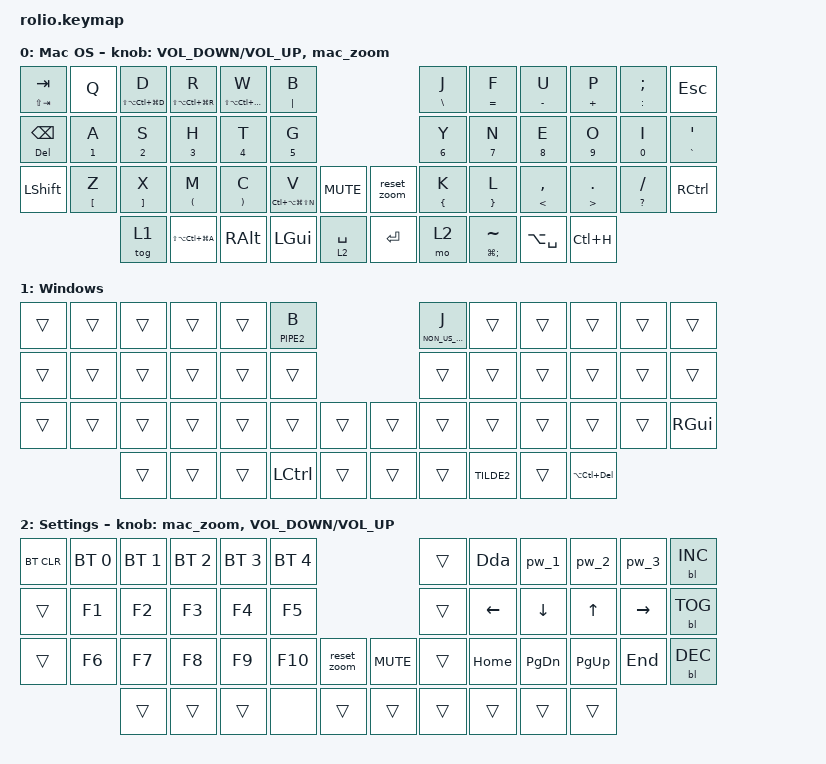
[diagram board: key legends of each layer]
/*
 * Copyright (c) 2020 The ZMK Contributors
 *
 * SPDX-License-Identifier: MIT
 */

#include <behaviors.dtsi>
#include <dt-bindings/zmk/backlight.h>
#include <dt-bindings/zmk/bt.h>
#include <dt-bindings/zmk/keys.h>

/ {
    conditional_layers {
        compatible = "zmk,conditional-layers";
    };

    behaviors {
        gqt: global-quick-tap {
            compatible = "zmk,behavior-hold-tap";
            label = "GLOBAL_QUICK_TAP";
            #binding-cells = <2>;
            flavor = "tap-preferred";
            tapping-term-ms = <200>;
            quick-tap-ms = <125>;
            global-quick-tap;
            bindings = <&kp>, <&kp>;
        };

        //Mac OS Zoom

        mac_zoom: mac_zoom {
            compatible = "zmk,behavior-sensor-rotate";
            label = "MAC_ZOOM";
            #sensor-binding-cells = <0>;
            bindings = <&zoom_in>, <&zoom_out>;
        };
    };

    macros {
        pal: pal {
            label = "Pallette";
            compatible = "zmk,behavior-macro";
            #binding-cells = <0>;
            bindings =
                <&macro_press>,
                <&kp LGUI>,
                <&macro_press>,
                <&kp LCTRL>,
                <&macro_tap>,
                <&kp SPACE>,
                <&macro_release>,
                <&kp LCTRL>,
                <&macro_release>,
                <&kp LGUI>;
        };

        wpal: wpal {
            label = "W_Pallette";
            compatible = "zmk,behavior-macro";
            #binding-cells = <0>;
            bindings =
                <&macro_press>,
                <&kp LGUI>,
                <&macro_tap>,
                <&kp DOT>,
                <&macro_release>,
                <&kp LGUI>;
        };

        // Zoom macros

        zoom_in: zoom_in {
            label = "ZOOM_IN";
            compatible = "zmk,behavior-macro";
            #binding-cells = <0>;
            bindings =
                <&macro_press>,
                <&kp LGUI>,
                <&macro_tap>,
                <&kp EQUAL>,
                <&macro_release>,
                <&kp LGUI>;
        };

        zoom_out: zoom_out {
            label = "ZOOM_OUT";
            compatible = "zmk,behavior-macro";
            #binding-cells = <0>;
            bindings =
                <&macro_press>,
                <&kp LGUI>,
                <&macro_tap>,
                <&kp MINUS>,
                <&macro_release>,
                <&kp LGUI>;
        };

        reset_zoom: reset_zoom {
            label = "RESET_ZOOM";
            compatible = "zmk,behavior-macro";
            #binding-cells = <0>;
            bindings =
                <&macro_press>,
                <&kp LGUI>,
                <&macro_tap>,
                <&kp N0>,
                <&macro_release>,
                <&kp LGUI>;
        };

        w_zoom_in: w_zoom_in {
            label = "WINDOWS_ZOOM_IN";
            compatible = "zmk,behavior-macro";
            #binding-cells = <0>;
            bindings =
                <&macro_press>,
                <&kp LCTRL>,
                <&macro_tap>,
                <&kp EQUAL>,
                <&macro_release>,
                <&kp LCTRL>;
        };

        w_zoom_out: w_zoom_out {
            label = "WINDOWS_ZOOM_OUT";
            compatible = "zmk,behavior-macro";
            #binding-cells = <0>;
            bindings =
                <&macro_press>,
                <&kp LCTRL>,
                <&macro_tap>,
                <&kp MINUS>,
                <&macro_release>,
                <&kp LCTRL>;
        };

        w_reset_zoom: w_reset_zoom {
            label = "WINDOWS_RESET_ZOOM";
            compatible = "zmk,behavior-macro";
            #binding-cells = <0>;
            bindings =
                <&macro_press>,
                <&kp LCTRL>,
                <&macro_tap>,
                <&kp N0>,
                <&macro_release>,
                <&kp LCTRL>;
        };

        Dda: Dda {
            compatible = "zmk,behavior-macro";
            #binding-cells = <0>;
            bindings = <&kp D &kp D &kp A &kp SPACE>;
            label = "DDA";
        };

        pw_1: pw_1 {
            compatible = "zmk,behavior-macro";
            #binding-cells = <0>;
            bindings = <&kp P &kp W &kp UNDER &kp N1>;
            label = "PW_1";
        };

        pw_2: pw_2 {
            compatible = "zmk,behavior-macro";
            #binding-cells = <0>;
            bindings = <&kp P &kp W &kp UNDER &kp N2>;
            label = "PW_2";
        };

        pw_3: pw_3 {
            compatible = "zmk,behavior-macro";
            #binding-cells = <0>;
            bindings = <&kp P &kp W &kp UNDER &kp N3>;
            label = "PW_3";
        };
    };

    combos {
        compatible = "zmk,combos";

        Cut {
            bindings = <&kp LG(X)>;
            key-positions = <25 26>;
        };

        Copy {
            bindings = <&kp LG(C)>;
            key-positions = <26 27>;
        };

        Paste {
            bindings = <&kp LG(V)>;
            key-positions = <27 28>;
        };
        
    };

    keymap {
        compatible = "zmk,keymap";

        default_layer {
            label = "Mac OS";
            sensor-bindings =
                <&inc_dec_kp C_VOLUME_DOWN C_VOLUME_UP &mac_zoom>;

            bindings = <

//-------------------------------------------------------------------------------------------------------------------------------------------+                          +--------------------------------------------------------------------------------------------------------//
//                 |             |                          |                          |                          |                          |                          |             |                     |                 |                 |                 |                // 
  &gqt LS(TAB) TAB   &kp Q         &gqt LS(LA(LC(LG(D)))) D   &gqt LS(LA(LC(LG(R)))) R   &gqt LS(LA(LC(LG(W)))) W   &gqt PIPE B                                           &gqt BSLH J   &gqt EQUAL F          &gqt MINUS U      &gqt PLUS P       &gqt COLON SEMI   &kp ESC
//                 |             |                          |                          |                          |                          |                          |             |                     |                 |                 |                 |                // 
  &gqt DEL BSPC      &gqt N1 A     &gqt N2 S                  &gqt N3 H                  &gqt N4 T                  &gqt N5 G                                             &gqt N6 Y     &gqt N7 N             &gqt N8 E         &gqt N9 O         &gqt N0 I         &gqt GRAVE SQT
//                 |             |                          |                          |                          |                          +-------------+------------+             |                     |                 |                 |                 |                // 
  &kp LSHFT          &gqt LBKT Z   &gqt RBKT X                &gqt LPAR M                &gqt RPAR C                &gqt LC(LA(LG(LS(N)))) V   &kp C_MUTE    &reset_zoom  &gqt LBRC K   &gqt RBRC L           &gqt LT COMMA     &gqt GT DOT       &gqt QMARK FSLH   &kp RCTRL
//-------------------------------+                          |                          |                          |                          |             |            |             |                     |                 |                 +----------------------------------// 
                                   &tog 1                     &kp LS(LA(LC(LG(A))))      &kp RALT                   &kp LGUI                   &lt 2 SPACE   &kp RET      &mo 2         &gqt LG(SEMI) TILDE   &kp LA(SPACE)     &kp LC(H)     
//                               |                          |                          |                          |                          |             |            |             |                     |                 |                 |                                  // 
//                               +------------------------------------------------------------------------------------------------------------------------------------------------------------------------------------------------------------+                                  // 
            >;
        };

        windows {
            bindings = <
&trans  &trans  &trans  &trans  &trans  &gqt PIPE2 B                  &gqt NON_US_BACKSLASH J  &trans      &trans  &trans  &trans  &trans
&trans  &trans  &trans  &trans  &trans  &trans                        &trans                   &trans      &trans  &trans  &trans  &trans
&trans  &trans  &trans  &trans  &trans  &trans        &trans  &trans  &trans                   &trans      &trans  &trans  &trans  &kp RGUI
                &trans  &trans  &trans  &kp LCTRL     &trans  &trans  &trans                   &kp TILDE2  &trans  &kp LA(LC(DEL))
            >;

            label = "Windows";
        };

        settings_layer {
            label = "Settings";
            sensor-bindings = <&mac_zoom &inc_dec_kp C_VOLUME_DOWN C_VOLUME_UP >;
            bindings = <
//---------------------------------------------------------------------------------------+                         +--------------------------------------------------------------------//
   &bt BT_CLR   &bt BT_SEL 0   &bt BT_SEL 1   &bt BT_SEL 2   &bt BT_SEL 3   &bt BT_SEL 4                             &trans   &Dda       &pw_1       &pw_2       &pw_3       &bl BL_INC
//            |              |              |              |              |              |                         |        |          |           |           |           |            //
   &trans       &kp F1         &kp F2         &kp F3         &kp F4         &kp F5                                   &trans   &kp LEFT   &kp DOWN    &kp UP      &kp RIGHT   &bl BL_TOG
//                           |              |              |              |              |            |            |        |          |           |           |           |            //
   &trans       &kp F6         &kp F7         &kp F8         &kp F9         &kp F10        &reset_zoom  &kp C_MUTE   &trans   &kp HOME   &kp PG_DN   &kp PG_UP   &kp END     &bl BL_DEC
//---------------------------+              |              |              |              |            |            |        |          |           |           +------------------------//
                               &trans         &trans         &trans         &none          &trans       &trans       &trans   &trans     &trans      &trans
//                           |              |              |              |              |            |            |        |          |           |           |                        //
//                           +---------------------------------------------------------------------------------------------------------------------------+                        //
            >;
        };
    };
};
